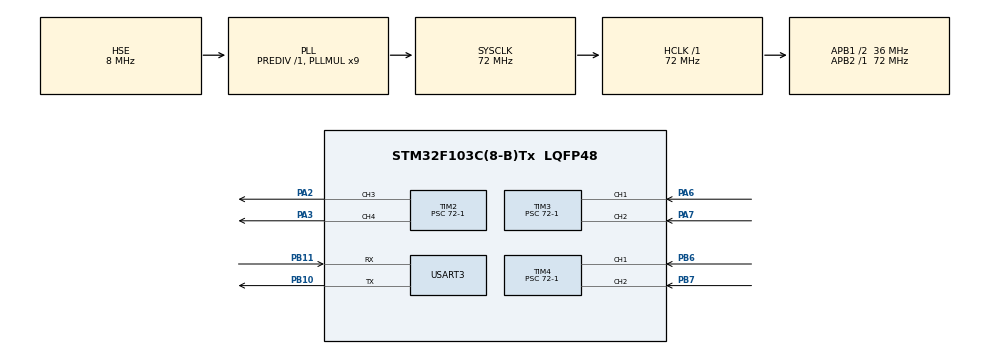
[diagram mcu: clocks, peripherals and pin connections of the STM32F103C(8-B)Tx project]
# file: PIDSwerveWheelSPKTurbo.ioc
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Mcu.Family=STM32F1
Mcu.Name=STM32F103C(8-B)Tx
Mcu.Package=LQFP48
NVIC.PriorityGroup=NVIC_PRIORITYGROUP_4
NVIC.TIM1_UP_IRQn=true\:15\:0\:false\:false\:true\:false\:true\:true
NVIC.TIM3_IRQn=true\:0\:0\:false\:false\:true\:true\:true\:true
NVIC.TIM4_IRQn=true\:0\:0\:false\:false\:true\:true\:true\:true
NVIC.TimeBase=TIM1_UP_IRQn
NVIC.TimeBaseIP=TIM1
NVIC.USART3_IRQn=true\:0\:0\:false\:false\:true\:true\:true\:true
PA13.Mode=Serial_Wire
PA13.Signal=SYS_JTMS-SWDIO
PA14.Mode=Serial_Wire
PA14.Signal=SYS_JTCK-SWCLK
PA2.Signal=S_TIM2_CH3
PA3.Signal=S_TIM2_CH4
PA6.Signal=S_TIM3_CH1
PA7.Signal=S_TIM3_CH2
PB10.Mode=Asynchronous
PB10.Signal=USART3_TX
PB11.Mode=Asynchronous
PB11.Signal=USART3_RX
PB6.Signal=S_TIM4_CH1
PB7.Signal=S_TIM4_CH2
PD0-OSC_IN.Mode=HSE-External-Oscillator
PD0-OSC_IN.Signal=RCC_OSC_IN
PD1-OSC_OUT.Mode=HSE-External-Oscillator
PD1-OSC_OUT.Signal=RCC_OSC_OUT
ProjectManager.HeapSize=0x200
ProjectManager.StackSize=0x400
ProjectManager.TargetToolchain=STM32CubeIDE
RCC.AHBFreq_Value=72000000
RCC.APB1CLKDivider=RCC_HCLK_DIV2
RCC.APB1Freq_Value=36000000
RCC.APB1TimFreq_Value=72000000
RCC.APB2Freq_Value=72000000
RCC.APB2TimFreq_Value=72000000
RCC.HCLKFreq_Value=72000000
RCC.PLLMUL=RCC_PLL_MUL9
RCC.PLLSourceVirtual=RCC_PLLSOURCE_HSE
RCC.SYSCLKFreq_VALUE=72000000
RCC.SYSCLKSource=RCC_SYSCLKSOURCE_PLLCLK
RCC.USBFreq_Value=72000000
SH.S_TIM2_CH3.0=TIM2_CH3,PWM Generation3 CH3
SH.S_TIM2_CH4.0=TIM2_CH4,PWM Generation4 CH4
SH.S_TIM3_CH1.0=TIM3_CH1,Encoder_Interface
SH.S_TIM3_CH2.0=TIM3_CH2,Encoder_Interface
SH.S_TIM4_CH1.0=TIM4_CH1,Encoder_Interface
SH.S_TIM4_CH2.0=TIM4_CH2,Encoder_Interface
TIM2.Channel-PWM\ Generation3\ CH3=TIM_CHANNEL_3
TIM2.Channel-PWM\ Generation4\ CH4=TIM_CHANNEL_4
TIM2.Period=1000-1
TIM2.Prescaler=72-1
TIM3.Period=1000-1
TIM3.Prescaler=72-1
TIM4.Period=1000-1
TIM4.Prescaler=72-1
USART3.VirtualMode=VM_ASYNC
VP_SYS_VS_tim1.Mode=TIM1
VP_TIM2_VS_ClockSourceINT.Mode=Internal
board=custom

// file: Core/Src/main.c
/* USER CODE BEGIN Header */
/**
  ******************************************************************************
  * @file           : main.c
  * @brief          : Main program body
  ******************************************************************************
  * @attention
  *
  * Copyright (c) 2023 STMicroelectronics.
  * All rights reserved.
  *
  * This software is licensed under terms that can be found in the LICENSE file
  * in the root directory of this software component.
  * If no LICENSE file comes with this software, it is provided AS-IS.
  *
  ******************************************************************************
  */
/* USER CODE END Header */
#include "main.h"

/* USER CODE BEGIN Includes */
#include "PID.h"
#include "string.h"
#include "stdlib.h"
/* USER CODE END Includes */

/* USER CODE BEGIN PM */
/* ---------------------------Begin: General Macro----------------------------*/

#define __SecPerMin	60

/* ---------------------------End: General Macro------------------------------*/

/* ---------------------------Begin: Initial Macro----------------------------*/

#define AtHome 0
#define OutHome 1
#define IntialFindingSpeed 20
#define AccurateFindingSpeed 2
#define FindingDegreeAboveLimit 180
#define FindingDegreeBelowLimit -180
#define AccurateFindingDegreeAboveLimit 10
#define AccurateFindingDegreeBelowLimit -10
#define IntialState 0
#define IntialStopAndResetState 1
#define AccurateFindingState 2
#define AccurateStopAndResetState 3
#define EndState 4

/* ---------------------------End: Initial Macro------------------------------*/

/* ------------------------------------------------------------------------------------------------------------------*/

/* ---------------------------Begin: BLDC Macro--------------------------------*/

#define BLDCDeltaT 0.001
#define __BLDCPPR 0	// undefined
#define __BLDCGearRatio 0	// undefined

/* ---------------------------End: BLDC Macro----------------------------------*/

/* ---------------------------Begin: PID BLDC Macro----------------------------*/

#define BLDCPropotional 0	// undefined
#define BLDCIntergral 0	// undefined
#define BLDCDerivative 0	// undefined
#define BLDCAlpha 0	// undefined
#define BLDCDeltaT 0.001
#define BLDCClockWise 1
#define BLDCCounterClockWise 0
#define BLDCIntergralAboveLimit 1000
#define BLDCIntergralBelowLimit -1000
#define BLDCSumAboveLimit 1000
#define BLDCSumBelowLimit -1000

double target_BLDC_Speed;

/* ---------------------------End: PID BLDC Macro------------------------------*/

/* ---------------------------Begin: DC Macro----------------------------------*/

#define DCDeltaT 0.001
#define __DCPPR 0	// undefined
#define __DCGearRatio 0	// undefined

/* ---------------------------End: DC Macro------------------------------------*/

/* ---------------------------Begin: PID DC Macro (SPEED)----------------------*/

#define DC_SpeedPropotional 0	// undefined
#define DC_SpeedIntergral 0	// undefined
#define DC_SpeedDerivative 0	// undefined
#define DC_SpeedAlpha 0	// undefined
#define DC_SpeedDeltaT 0.001
#define DC_SpeedStop 0
#define DC_SpeedIntergralAboveLimit 1000
#define DC_SpeedIntergralBelowLimit -1000
#define DC_SpeedSumAboveLimit 1000
#define DC_SpeedSumBelowLimit -1000

double target_DC_Speed;

/* ---------------------------End: PID DC Macro (SPEED)------------------------*/

/* ---------------------------Begin: PID DC Macro (POSITION)-------------------*/

#define DC_PositionPropotional 0
#define DC_PositionIntergral 0
#define DC_PositionDerivative 0
#define DC_PositionAlpha 0
#define DC_PositionDeltaT 0.001
#define DC_PositionIntergralAboveLimit 1000
#define DC_PositionIntergralBelowLimit -1000
#define DC_PositionSumAboveLimit 1000
#define DC_PositionSumBelowLimit -1000
#define FilterAlpha 0

double target_DC_Position;

/* ---------------------------End: PID DC Macro (POSITION)---------------------*/

/* ------------------------------------------------------------------------------------------------------------------*/

/* USER CODE END PM */

TIM_HandleTypeDef htim2;
TIM_HandleTypeDef htim3;
TIM_HandleTypeDef htim4;

UART_HandleTypeDef huart3;

/* USER CODE BEGIN PV */
/* --------------------------Begin: Home Variables----------------------------*/

uint8_t HomeState;
uint8_t RunState;
uint8_t IntialSpeed;
uint8_t HomeFound;
uint8_t TestCommand;
int TestCommand2;

/* --------------------------End: Home Variables------------------------------*/

/* --------------------------Begin: Encoder Read Variables--------------------*/

int8_t RotateState = 1;

/* --------------------------End: Encoder Read Variables----------------------*/

/* --------------------------Begin: PID SPEED Variables-----------------------*/

double Speed_kp;
double Speed_ki;
double Speed_kd;
double Speed_alpha;
double Speed_filter;
double Speed_error;
double Speed_uP;
double Speed_uI;
double Speed_uD;
double Speed_u;
double Speed_sumAboveLimit;
double Speed_sumBelowLimit;
double vel;
double pre_vel;
double cntX4;
double cnt;
double pre_cnt;
double target_speed;

/* --------------------------End: PID SPEED Variables-------------------------*/

/* --------------------------Begin: PID POSITION Variables--------------------*/

double Position_kp;
double Position_ki;
double Position_kd;
double Position_alpha;
double Position_filter;
double Position_error;
double Position_uP;
double Position_uI;
double Position_uD;
double Position_u;
double Position_sumAboveLimit;
double Position_sumBelowLimit;

double target_position;

/* --------------------------End: PID POSITION Variables----------------------*/

PID_Param PID_BLDC;
PID_Param PID_DC_SPEED;
PID_Param PID_DC_POSITION;

EncoderRead ENC_BLDC;
EncoderRead ENC_DC;

MotorDrive BLDC;
MotorDrive DC;

/* ------------------------------------------------------------------------------------------------------------------*/

/* USER CODE END PV */

void SystemClock_Config(void);
static void MX_GPIO_Init(void);
static void MX_TIM2_Init(void);
static void MX_TIM3_Init(void);
static void MX_TIM4_Init(void);
static void MX_USART3_UART_Init(void);

int main(void)
{

  /* MCU Configuration--------------------------------------------------------*/

  /* Reset of all peripherals, Initializes the Flash interface and the Systick. */
  HAL_Init();

  /* Configure the system clock */
  SystemClock_Config();

  /* Initialize all configured peripherals */
  MX_GPIO_Init();
  MX_TIM2_Init();
  MX_TIM3_Init();
  MX_TIM4_Init();
  MX_USART3_UART_Init();
  /* USER CODE BEGIN 2 */
  HAL_TIM_PWM_Start(&htim2, TIM_CHANNEL_3);
  HAL_TIM_PWM_Start(&htim2, TIM_CHANNEL_4);
  HAL_TIM_Encoder_Start_IT(&htim3, TIM_CHANNEL_ALL);
  HAL_TIM_Encoder_Start_IT(&htim4, TIM_CHANNEL_ALL);

  HAL_Delay(1000);

  EncoderSetting(&ENC_BLDC, &htim3, __BLDCPPR * __BLDCGearRatio, BLDCDeltaT);
  EncoderSetting(&ENC_DC, &htim4, __DCPPR * __DCGearRatio, DCDeltaT);

  Pid_SetParam(&PID_BLDC, BLDCPropotional, BLDCIntergral, BLDCDerivative, BLDCAlpha, BLDCDeltaT, BLDCIntergralAboveLimit, BLDCIntergralBelowLimit, BLDCSumAboveLimit, BLDCSumBelowLimit);
  Pid_SetParam(&PID_DC_SPEED, DC_SpeedPropotional, DC_SpeedIntergral, DC_SpeedDerivative, DC_SpeedAlpha, DC_SpeedDeltaT, DC_SpeedIntergralAboveLimit, DC_SpeedIntergralBelowLimit, DC_SpeedSumAboveLimit, DC_SpeedSumBelowLimit);
  Pid_SetParam(&PID_DC_POSITION, DC_PositionPropotional, DC_PositionIntergral, DC_PositionDerivative, DC_PositionAlpha, DC_PositionDeltaT, DC_PositionIntergralAboveLimit, DC_PositionIntergralBelowLimit, DC_PositionSumAboveLimit, DC_PositionSumBelowLimit);

  /* USER CODE END 2 */

  /* Infinite loop */
  while (1)
  {

  }
}

void SystemClock_Config(void)
{
  RCC_OscInitTypeDef RCC_OscInitStruct = {0};
  RCC_ClkInitTypeDef RCC_ClkInitStruct = {0};

  /** Initializes the RCC Oscillators according to the specified parameters
  * in the RCC_OscInitTypeDef structure.
  */
  RCC_OscInitStruct.OscillatorType = RCC_OSCILLATORTYPE_HSE;
  RCC_OscInitStruct.HSEState = RCC_HSE_ON;
  RCC_OscInitStruct.HSEPredivValue = RCC_HSE_PREDIV_DIV1;
  RCC_OscInitStruct.HSIState = RCC_HSI_ON;
  RCC_OscInitStruct.PLL.PLLState = RCC_PLL_ON;
  RCC_OscInitStruct.PLL.PLLSource = RCC_PLLSOURCE_HSE;
  RCC_OscInitStruct.PLL.PLLMUL = RCC_PLL_MUL9;
  if (HAL_RCC_OscConfig(&RCC_OscInitStruct) != HAL_OK)
  {
    Error_Handler();
  }

  /** Initializes the CPU, AHB and APB buses clocks
  */
  RCC_ClkInitStruct.ClockType = RCC_CLOCKTYPE_HCLK|RCC_CLOCKTYPE_SYSCLK
                              |RCC_CLOCKTYPE_PCLK1|RCC_CLOCKTYPE_PCLK2;
  RCC_ClkInitStruct.SYSCLKSource = RCC_SYSCLKSOURCE_PLLCLK;
  RCC_ClkInitStruct.AHBCLKDivider = RCC_SYSCLK_DIV1;
  RCC_ClkInitStruct.APB1CLKDivider = RCC_HCLK_DIV2;
  RCC_ClkInitStruct.APB2CLKDivider = RCC_HCLK_DIV1;

  if (HAL_RCC_ClockConfig(&RCC_ClkInitStruct, FLASH_LATENCY_2) != HAL_OK)
  {
    Error_Handler();
  }
}

static void MX_TIM2_Init(void)
{

  TIM_ClockConfigTypeDef sClockSourceConfig = {0};
  TIM_MasterConfigTypeDef sMasterConfig = {0};
  TIM_OC_InitTypeDef sConfigOC = {0};

  htim2.Instance = TIM2;
  htim2.Init.Prescaler = 72-1;
  htim2.Init.CounterMode = TIM_COUNTERMODE_UP;
  htim2.Init.Period = 1000-1;
  htim2.Init.ClockDivision = TIM_CLOCKDIVISION_DIV1;
  htim2.Init.AutoReloadPreload = TIM_AUTORELOAD_PRELOAD_DISABLE;
  if (HAL_TIM_Base_Init(&htim2) != HAL_OK)
  {
    Error_Handler();
  }
  sClockSourceConfig.ClockSource = TIM_CLOCKSOURCE_INTERNAL;
  if (HAL_TIM_ConfigClockSource(&htim2, &sClockSourceConfig) != HAL_OK)
  {
    Error_Handler();
  }
  if (HAL_TIM_PWM_Init(&htim2) != HAL_OK)
  {
    Error_Handler();
  }
  sMasterConfig.MasterOutputTrigger = TIM_TRGO_RESET;
  sMasterConfig.MasterSlaveMode = TIM_MASTERSLAVEMODE_DISABLE;
  if (HAL_TIMEx_MasterConfigSynchronization(&htim2, &sMasterConfig) != HAL_OK)
  {
    Error_Handler();
  }
  sConfigOC.OCMode = TIM_OCMODE_PWM1;
  sConfigOC.Pulse = 0;
  sConfigOC.OCPolarity = TIM_OCPOLARITY_HIGH;
  sConfigOC.OCFastMode = TIM_OCFAST_DISABLE;
  if (HAL_TIM_PWM_ConfigChannel(&htim2, &sConfigOC, TIM_CHANNEL_3) != HAL_OK)
  {
    Error_Handler();
  }
  if (HAL_TIM_PWM_ConfigChannel(&htim2, &sConfigOC, TIM_CHANNEL_4) != HAL_OK)
  {
    Error_Handler();
  }
  HAL_TIM_MspPostInit(&htim2);

}

static void MX_TIM3_Init(void)
{

  TIM_Encoder_InitTypeDef sConfig = {0};
  TIM_MasterConfigTypeDef sMasterConfig = {0};

  htim3.Instance = TIM3;
  htim3.Init.Prescaler = 72-1;
  htim3.Init.CounterMode = TIM_COUNTERMODE_UP;
  htim3.Init.Period = 1000-1;
  htim3.Init.ClockDivision = TIM_CLOCKDIVISION_DIV1;
  htim3.Init.AutoReloadPreload = TIM_AUTORELOAD_PRELOAD_DISABLE;
  sConfig.EncoderMode = TIM_ENCODERMODE_TI1;
  sConfig.IC1Polarity = TIM_ICPOLARITY_RISING;
  sConfig.IC1Selection = TIM_ICSELECTION_DIRECTTI;
  sConfig.IC1Prescaler = TIM_ICPSC_DIV1;
  sConfig.IC1Filter = 0;
  sConfig.IC2Polarity = TIM_ICPOLARITY_RISING;
  sConfig.IC2Selection = TIM_ICSELECTION_DIRECTTI;
  sConfig.IC2Prescaler = TIM_ICPSC_DIV1;
  sConfig.IC2Filter = 0;
  if (HAL_TIM_Encoder_Init(&htim3, &sConfig) != HAL_OK)
  {
    Error_Handler();
  }
  sMasterConfig.MasterOutputTrigger = TIM_TRGO_RESET;
  sMasterConfig.MasterSlaveMode = TIM_MASTERSLAVEMODE_DISABLE;
  if (HAL_TIMEx_MasterConfigSynchronization(&htim3, &sMasterConfig) != HAL_OK)
  {
    Error_Handler();
  }

}

static void MX_TIM4_Init(void)
{

  TIM_Encoder_InitTypeDef sConfig = {0};
  TIM_MasterConfigTypeDef sMasterConfig = {0};

  htim4.Instance = TIM4;
  htim4.Init.Prescaler = 72-1;
  htim4.Init.CounterMode = TIM_COUNTERMODE_UP;
  htim4.Init.Period = 1000-1;
  htim4.Init.ClockDivision = TIM_CLOCKDIVISION_DIV1;
  htim4.Init.AutoReloadPreload = TIM_AUTORELOAD_PRELOAD_DISABLE;
  sConfig.EncoderMode = TIM_ENCODERMODE_TI1;
  sConfig.IC1Polarity = TIM_ICPOLARITY_RISING;
  sConfig.IC1Selection = TIM_ICSELECTION_DIRECTTI;
  sConfig.IC1Prescaler = TIM_ICPSC_DIV1;
  sConfig.IC1Filter = 0;
  sConfig.IC2Polarity = TIM_ICPOLARITY_RISING;
  sConfig.IC2Selection = TIM_ICSELECTION_DIRECTTI;
  sConfig.IC2Prescaler = TIM_ICPSC_DIV1;
  sConfig.IC2Filter = 0;
  if (HAL_TIM_Encoder_Init(&htim4, &sConfig) != HAL_OK)
  {
    Error_Handler();
  }
  sMasterConfig.MasterOutputTrigger = TIM_TRGO_RESET;
  sMasterConfig.MasterSlaveMode = TIM_MASTERSLAVEMODE_DISABLE;
  if (HAL_TIMEx_MasterConfigSynchronization(&htim4, &sMasterConfig) != HAL_OK)
  {
    Error_Handler();
  }

}

static void MX_USART3_UART_Init(void)
{

  huart3.Instance = USART3;
  huart3.Init.BaudRate = 115200;
  huart3.Init.WordLength = UART_WORDLENGTH_8B;
  huart3.Init.StopBits = UART_STOPBITS_1;
  huart3.Init.Parity = UART_PARITY_NONE;
  huart3.Init.Mode = UART_MODE_TX_RX;
  huart3.Init.HwFlowCtl = UART_HWCONTROL_NONE;
  huart3.Init.OverSampling = UART_OVERSAMPLING_16;
  if (HAL_UART_Init(&huart3) != HAL_OK)
  {
    Error_Handler();
  }

}

static void MX_GPIO_Init(void)
{

  /* GPIO Ports Clock Enable */
  __HAL_RCC_GPIOD_CLK_ENABLE();
  __HAL_RCC_GPIOA_CLK_ENABLE();
  __HAL_RCC_GPIOB_CLK_ENABLE();

}

void HAL_TIM_PeriodElapsedCallback(TIM_HandleTypeDef *htim)
{
  if (htim->Instance == TIM1) {
    HAL_IncTick();
  }
}

void Error_Handler(void)
{
  __disable_irq();
  while (1)
  {
  }
}
